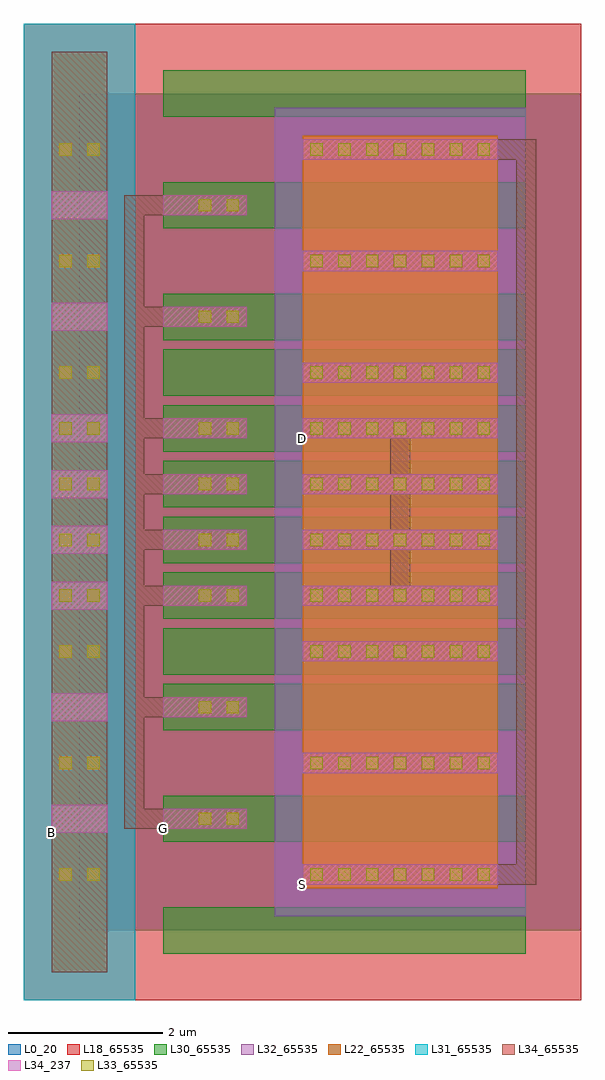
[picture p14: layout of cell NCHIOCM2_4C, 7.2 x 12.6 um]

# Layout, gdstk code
import gdstk
lib = gdstk.Library(unit=1e-6, precision=1e-09)
def R(c, l, rs):  # rectangles x0, y0, x1, y1
    for r in rs: c.add(gdstk.rectangle(r[:2], r[2:], *l))
def A(c, l, x, y, w, h, nx, ny, dx, dy):  # array of equal rectangles
    R(c, l, [(x+i*dx, y+j*dy, x+i*dx+w, y+j*dy+h) for i in range(nx) for j in range(ny)])
L0_20 = (0, 20)
L18_65535 = (18, 65535)
L22_65535 = (22, 65535)
L30_65535 = (30, 65535)
L31_65535 = (31, 65535)
L32_65535 = (32, 65535)
L33_65535 = (33, 65535)
L34_237 = (34, 237)
L34_65535 = (34, 65535)

nchio_4c = lib.new_cell('NCHIO_4C')
R(nchio_4c, L0_20, [(0,0,6.48,2.88)])
R(nchio_4c, L18_65535, [(-0.72,-0.9,6.48,3.78)])
A(nchio_4c, L22_65535, -0.36, -0.54, 0.72, 0.36, 1, 11, 0, 0.36)
A(nchio_4c, L22_65535, 2.88, 0.54, 2.52, 0.36, 1, 5, 0, 0.36)
A(nchio_4c, L30_65535, 1.08, -0.3, 4.68, 0.6, 1, 3, 0, 1.44)
R(nchio_4c, L31_65535, [(-0.72,-0.9,0.72,3.78)])
R(nchio_4c, L32_65535, [(2.52,0.18,5.76,2.7)])
A(nchio_4c, L33_65535, 2.98, 0.64, 0.16, 0.16, 7, 2, 0.36, 1.44)
R(nchio_4c, L33_65535, [(-0.26,0.64,-0.1,0.8), (0.1,0.64,0.26,0.8), (1.54,1.36,1.7,1.52), (1.9,1.36,2.06,1.52), (-0.26,2.08,-0.1,2.24), (0.1,2.08,0.26,2.24)])
R(nchio_4c, L34_237, [(2.88,0.59,5.4,0.85), (-0.36,1.26,0.36,1.62), (1.08,1.31,2.16,1.57), (2.88,2.03,5.4,2.29)])
A(nchio_4c, L34_65535, -0.36, -0.54, 0.72, 0.36, 1, 11, 0, 0.36)
R(nchio_4c, L34_65535, [(2.88,0.59,5.4,0.85), (1.08,1.31,2.16,1.57), (2.88,2.03,5.4,2.29)])
nchio_4c.add(gdstk.Label('G', (1.08,1.31), layer=34, texttype=237))
nchio_4c.add(gdstk.Label('S', (2.88,0.59), layer=34, texttype=237))
nchio_4c.add(gdstk.Label('B', (-0.36,1.26), layer=34, texttype=237))
nchio_4c.add(gdstk.Label('D', (2.88,2.03), layer=34, texttype=237))

nchiocm_4c = lib.new_cell('NCHIOCM_4C')
R(nchiocm_4c, L0_20, [(0,0,6.48,7.2)])
R(nchiocm_4c, L34_237, [(2.88,0.59,5.4,0.85), (1.08,1.31,2.16,1.57), (2.88,6.35,5.4,6.61)])
A(nchiocm_4c, L34_65535, 0.58, 1.31, 1.04, 0.26, 1, 4, 0, 1.44)
R(nchiocm_4c, L34_65535, [(0.58,1.31,0.84,5.89)])
nchiocm_4c.add(gdstk.Reference(nchio_4c, (0,0)))
nchiocm_4c.add(gdstk.Reference(nchio_4c, (0,1.44)))
nchiocm_4c.add(gdstk.Reference(nchio_4c, (0,2.88)))
nchiocm_4c.add(gdstk.Reference(nchio_4c, (0,4.32)))
nchiocm_4c.add(gdstk.Label('G', (1.08,1.31), layer=58, texttype=65535))
nchiocm_4c.add(gdstk.Label('D', (2.88,6.35), layer=34, texttype=237))
nchiocm_4c.add(gdstk.Label('G', (1.08,1.31), layer=34, texttype=237))
nchiocm_4c.add(gdstk.Label('S', (2.88,0.59), layer=34, texttype=237))

nchiocm2_4c = lib.new_cell('NCHIOCM2_4C')
R(nchiocm2_4c, L0_20, [(0,0,6.48,10.8)])
R(nchiocm2_4c, L34_237, [(2.88,0.59,5.4,0.85), (-0.36,1.26,0.36,1.62), (1.08,1.31,2.16,1.57), (2.88,6.35,5.4,6.61)])
R(nchiocm2_4c, L34_65535, [(4.14,0.59,5.64,0.85), (5.64,0.59,5.9,10.21), (0.58,1.31,1.62,1.57), (0.58,1.31,0.84,5.17), (4.01,4.19,4.27,6.61), (0.58,4.91,1.62,5.17), (4.14,9.95,5.64,10.21)])
nchiocm2_4c.add(gdstk.Reference(nchiocm_4c, (0,0)))
nchiocm2_4c.add(gdstk.Reference(nchiocm_4c, (0,3.6)))
nchiocm2_4c.add(gdstk.Label('S', (2.88,0.59), layer=58, texttype=65535))
nchiocm2_4c.add(gdstk.Label('G', (1.08,1.31), layer=58, texttype=65535))
nchiocm2_4c.add(gdstk.Label('D', (2.88,6.35), layer=58, texttype=65535))
nchiocm2_4c.add(gdstk.Label('B', (-0.36,1.26), layer=34, texttype=237))
nchiocm2_4c.add(gdstk.Label('D', (2.88,6.35), layer=34, texttype=237))
nchiocm2_4c.add(gdstk.Label('G', (1.08,1.31), layer=34, texttype=237))
nchiocm2_4c.add(gdstk.Label('S', (2.88,0.59), layer=34, texttype=237))

lib.write_gds('NCHIOCM2_4C.gds')
